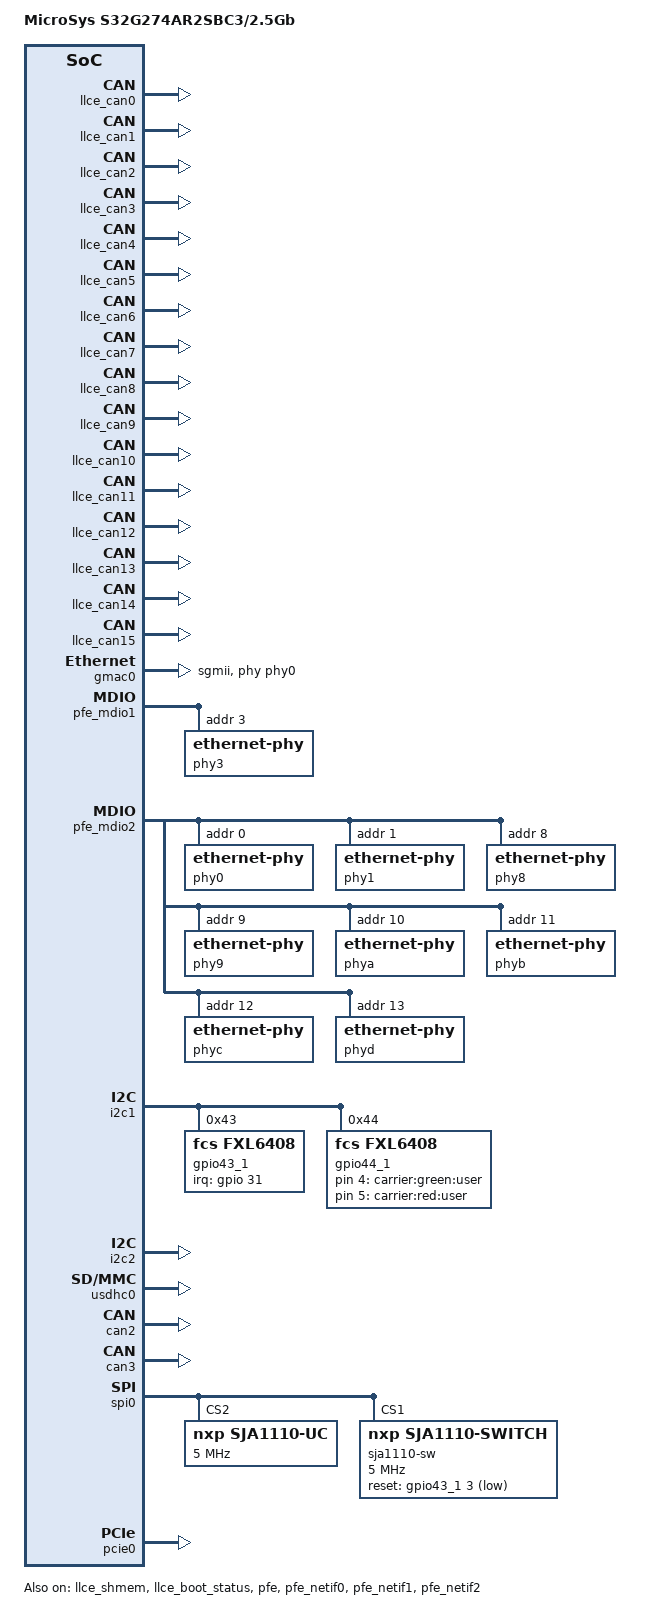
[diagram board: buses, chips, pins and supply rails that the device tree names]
/*
 * Copyright 2019 NXP
 * Copyright (C) 2020 MicroSys Electronics GmbH
 *
 * This program is free software; you can redistribute it and/or modify
 * it under the terms of the GNU General Public License as published by
 * the Free Software Foundation; either version 2 of the License, or
 * (at your option) any later version.
 */

#include "mpxs32g274ar2.dtsi"

#define S32_GEN1_PAD_PF00__SPI0_CS7_OUT  80 (PAD_CTL_SPI_MSCR_CSx | PAD_CTL_SRC_SIG_SEL4)

/ {
    model = "MicroSys S32G274AR2SBC3/2.5Gb";
    compatible = "fsl,s32g274-simu", "fsl,s32g274",
                 "arm,vexpress,v2p-aarch64", "arm,vexpress";

	chosen {
		stdout-path = "serial0:115200n8";
	};

};

&leds {
	user1 {
		label = "carrier:green:user";
		gpios = <&gpio44_1 4 0>;
		default-state = "off";
	};

	user2 {
		label = "carrier:red:user";
		gpios = <&gpio44_1 5 0>;
		default-state = "off";
	};
};

&llce_dte_sram {
	status = "okay";
};

&llce_ppe_rx_sram {
	status = "okay";
};

&llce_ppe_tx_sram {
	status = "okay";
};

&llce_frpe_sram {
	status = "okay";
};

&llce_shmem {
	status = "okay";
};

&llce_boot_status {
	status = "okay";
};

&llce_can0 {
	status = "okay";
};

&llce_can1 {
	status = "okay";
};

&llce_can2 {
	status = "okay";
};

&llce_can3 {
	status = "okay";
};

&llce_can4 {
	status = "okay";
};

&llce_can5 {
	status = "okay";
};

&llce_can6 {
	status = "okay";
};

&llce_can7 {
	status = "okay";
};

&llce_can8 {
	status = "okay";
};

&llce_can9 {
	status = "okay";
};

&llce_can10 {
	status = "okay";
};

&llce_can11 {
	status = "okay";
};

&llce_can12 {
	status = "okay";
};

&llce_can13 {
	status = "okay";
};

&llce_can14 {
	status = "okay";
};

&llce_can15 {
	status = "okay";
};

&serdes0 {
	nxp,sys-mode = <PCIE_XPCS0_MODE>;
};

&serdes1 {
	nxp,sys-mode = <XPCSX2_MODE>;
};

&gmac0 {
	status = "okay";
	phy-mode = "sgmii";
	phy-handle = <&phy0>;
};

&pfe {
	status = "okay";
	pinctrl-names = "default";
	pinctrl-0 = <&pfe1mdioc_pins>,
			<&pfe1rgmiic_pins>,
			<&pfe2mdiob_pins>,
			<&pfe2rgmiib_pins>;
	phys = <&serdes1 PHY_TYPE_XPCS 0 0>, /* PFE0: XPCS0 Lane0 */
	       <&serdes1 PHY_TYPE_XPCS 1 1>, /* PFE1 not used */
	       <&serdes0 PHY_TYPE_XPCS 1 1>; /* PFE2 not used */
};

&pfe_netif0 {
	status = "okay";
	phy-mode = "sgmii";
	max-speed = <2500>;
	fixed-link {
		full-duplex;
		speed = <2500>;
	};
};

&pfe_netif1 {
	status = "okay";
	phy-handle = <&phy3>;
	phy-mode = "rgmii-id";
};

&pfe_netif2 {
	status = "okay";
	phy-handle = <&phy1>;
	phy-mode = "rgmii-id";
};

&pfe_mdio1 {
	status = "okay";

	phy3: ethernet-phy@3 { /* PFE1 RGMII */
		reg = <3>;
		/*interrupt-parent = <&gpio43_1>;
		interrupts = <4 IRQ_TYPE_EDGE_FALLING>;*/
	};
};

&pfe_mdio2 {
	status = "okay";

	phy0: ethernet-phy@0 { /* GMAC0 SGMII SerDes0 Lane1 */
		reg = <0>;
		/*interrupt-parent = <&gpio43_1>;
		interrupts = <4 IRQ_TYPE_EDGE_FALLING>;*/
	};

	phy1: ethernet-phy@1 { /* PFE2 RGMII */
		reg = <1>;
		/*interrupt-parent = <&gpio43_1>;
		interrupts = <4 IRQ_TYPE_EDGE_FALLING>;*/
	};

	phy8: ethernet-phy@8 { /* T1@SJA1110 */
		reg = <8>;
		max-speed = <100>;
	};

	phy9: ethernet-phy@9 { /* T1@SJA1110 */
		reg = <9>;
		max-speed = <100>;
	};

	phya: ethernet-phy@a { /* T1@SJA1110 */
		reg = <0xa>;
		max-speed = <100>;
	};

	phyb: ethernet-phy@b { /* T1@SJA1110 */
		reg = <0xb>;
		max-speed = <100>;
	};

	phyc: ethernet-phy@c { /* T1@SJA1110 */
		reg = <0xc>;
		max-speed = <100>;
	};

	phyd: ethernet-phy@d { /* T1@SJA1110 */
		reg = <0xd>;
		max-speed = <100>;
	};
};

&i2c1 {
	status = "okay";

	gpio43_1: gpio@43 {
		compatible = "fcs,fxl6408";
		gpio-controller;
		#gpio-cells = <2>;
		reg = <0x43>;
		direction = [48];
		input-default-state = [3e];
		output-default-state = [08];
		pull-config = [00 3f]; /* pull-enable / pull-up/down */
		/* PB15 GPIO[31]/EIRQ[12] */
		interrupt-parent = <&gpio>;
		interrupts = <31 IRQ_TYPE_EDGE_FALLING>;
		interrupt-controller;
		#interrupt-cells = <2>;

		/*
		 * Pin             Function           Direction    Polarity    State
		 * =================================================================
		 * GPIO0           SJA1124_STAT       in           high        low
		 * GPIO1           SJA1124_INT#       in           low         high
		 * GPIO2           AETH_IRQ#          in           low         high
		 * GPIO3           AETH_RST_CORE#     out          low         high
		 * GPIO4           LAN_IRQ#           in           low         high
		 * GPIO5           SD_CD#             in           low         high
		 * GPIO6           LIN_SLP            out          high        low
		 * GPIO7           n/c                xxx          xxx         xxx
		 *
		 * Note: GPIO7 was CAN_STB on Rev.1. This function has been moved to GPIO7 at GPIO@44
		 * below. There this pin is called STBY_ON# with reversed polarity!
		 */

		 ngpios = <8>;

		 gpio-line-names = "SJA1124_STAT", "SJA1124_INT", "SJA1110_IRQ", "SJA1110_RST_CORE",
						   "PHYS_IRQ", "SD_CD", "LIN_SLP", "7";

		 sja1110_rst_core {
			 gpio-hog;
			 gpios = <3 GPIO_ACTIVE_LOW>;
			 output-high;
			 line-name = "sja1110-reset-core";
		 };

		 lin_slp {
			 gpio-hog;
			 gpios = <6 GPIO_ACTIVE_HIGH>;
			 output-low;
			 line-name = "lin-sleep";
		 };

	};

	gpio44_1: gpio@44 {
		compatible = "fcs,fxl6408";
		gpio-controller;
		#gpio-cells = <2>;
		reg = <0x44>;
		direction = [f5];
		input-default-state = [00];
		output-default-state = [c1];
		pull-config = [84 f5]; /* pull-enable / pull-up/down */

		/*
		 * Pin             Function           Direction    Polarity    State
		 * =================================================================
		 * GPIO0           SERDES_SEL         out          high        high
		 * GPIO1           KL15_IN            in           high        low
		 * GPIO2           KL15_HOLD          out          high        high
		 * GPIO3           n/c                xxx          xxx         xxx
		 * GPIO4           LED1               out          high        low
		 * GPIO5           LED2               out          high        low
		 * GPIO6           CANSIC_EN          out          high        high
		 * GPIO7           STBY_ON#           out          low         high
		 *
		 * Note 1: STBY_ON# was GPIO7 at GPIO@43 above on Rev.1. There is pin was called
		 * CAN_STB with reversed polarity!
		 *
		 * Note 2: STBY_ON# controlls whether the CAN-bus tranceivers are in standby mode.
		 * If STBY_ON# is high the transceivers are active and functional.
		 */

		ngpios = <8>;
		//gpio-reserved-ranges = <1 5>;
		gpio-line-names = "SERDES_SEL",
			"KL15_IN", "KL15_HOLD", "3", "LED1", "LED2",
			"CANSIC_EN", "CAN_STBY_ON";

	};
};

&i2c2 {
	status = "okay";
};

&usdhc0 {
	status = "okay";
	cd = <&gpio43_1 5 GPIO_ACTIVE_LOW>;
};

&can2 {
	status = "okay";
};

&can3 {
	status = "okay";
};

&spi0 {
	status = "okay";

	sja1110-uc@2 {
		compatible = "nxp,sja1110-uc";
		spi-max-frequency = <5000000>;
		fsl,spi-cs-sck-delay = <50>;
		fsl,spi-sck-cs-delay = <50>;
		reg = <2>;
	};

	sja1110-sw@1 {
		compatible = "nxp,sja1110-switch";
		spi-max-frequency = <5000000>;
		fsl,spi-cs-sck-delay = <50>;
		fsl,spi-sck-cs-delay = <50>;
		reg = <1>;
		reset-gpio = <&gpio43_1 3 GPIO_ACTIVE_LOW>;

		ngpios = <16>;
		gpio-line-names = "0", "1", "2", "3", "4", "5", "6", "7",
				"8", "9", "10", "11", "12", "13",
				"LAN_100_LED_YELLOW", "LAN_100_LED_GREEN";
	};

	sja1110-per-ss1@7 {
		compatible = "nxp,sja1110-per-ss1";
		spi-max-frequency = <5000000>;
		fsl,spi-cs-sck-delay = <50>;
		fsl,spi-sck-cs-delay = <50>;
		reg = <7>;
		status = "disabled";
	};
};

&spi5 {
	status = "disabled";

	spidev@0 {
		compatible = "nxp,sja1124";
		spi-cpha;
		spi-max-frequency = <100000>;
		fsl,spi-cs-sck-delay = <100>;
		fsl,spi-sck-cs-delay = <100>;
		reg = <0>;
		status = "disabled";
	};

};

&pcie0 {
	status = "okay";
};

&pcie1 {
	status = "disabled";
};
